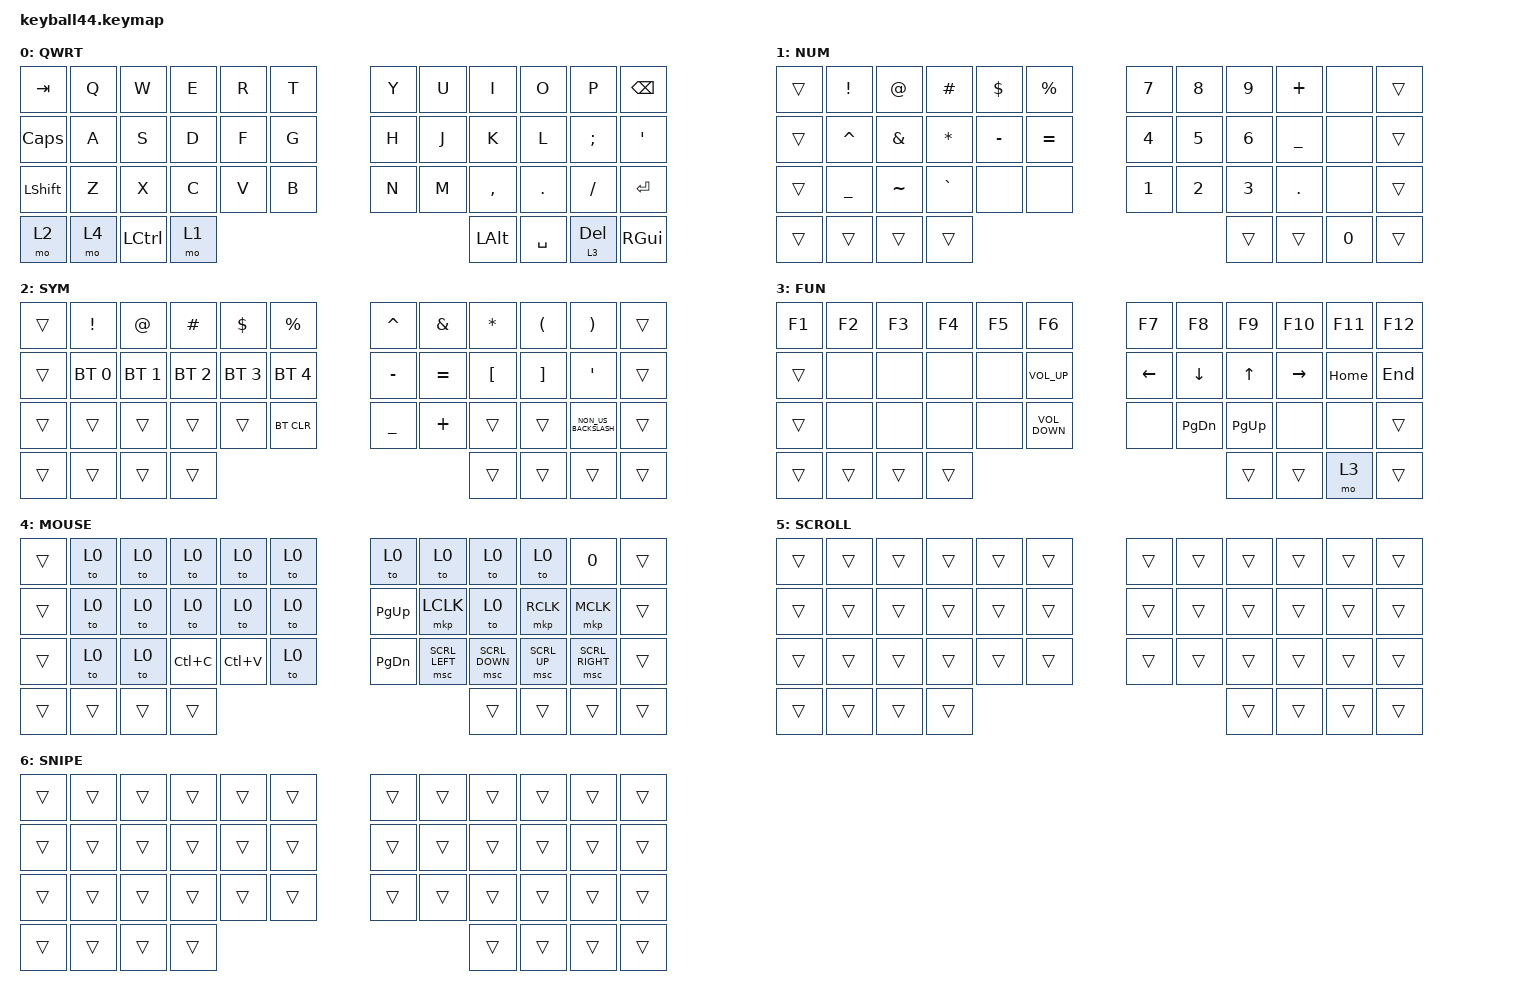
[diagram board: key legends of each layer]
#define DEFAULT 0
#define NUM     1
#define SYM     2
#define FUN     3
#define MOUSE   4
#define SCROLL  5
#define SNIPE   6

#include <behaviors/mouse_keys.dtsi>
#include <dt-bindings/zmk/mouse.h>
#include <behaviors.dtsi>
#include <dt-bindings/zmk/bt.h>
#include <dt-bindings/zmk/keys.h>
#include <dt-bindings/zmk/pointing.h>

&lt {
    tapping-term-ms = <240>;
    flavor = "balanced";
    quick-tap-ms = <150>;
};

&mt {
    tapping-term-ms = <200>;
    flavor = "tap-preferred";
    quick-tap-ms = <150>;
};

&caps_word { continue-list = <UNDERSCORE MINUS>; };

/ {
    // custom shift using mod-morph 

    behaviors {
        cmqus: comma_question {
            compatible = "zmk,behavior-mod-morph";
            label = "COMMA_QUESTION";
            #binding-cells = <0>;
            bindings = <&kp COMMA>, <&kp QUESTION>;

            mods = <(MOD_LSFT|MOD_RSFT)>;
        };

        dtsmi: dot_semi {
            compatible = "zmk,behavior-mod-morph";
            label = "DOT_SEMI";
            #binding-cells = <0>;
            bindings = <&kp DOT>, <&kp SEMI>;

            mods = <(MOD_LSFT|MOD_RSFT)>;
        };
    };

    combos {
        compatible = "zmk,combos";

        L_Bracket {
            bindings = <&kp LEFT_PARENTHESIS>;
            key-positions = <4 5>;
            layers = <0>;
        };

        R_Bracket {
            bindings = <&kp RIGHT_PARENTHESIS>;
            key-positions = <7 6>;
            layers = <0>;
        };

        LS_Bracket {
            bindings = <&kp LEFT_BRACKET>;
            key-positions = <16 17>;
            layers = <0>;
        };

        RS_Bracket {
            bindings = <&kp RIGHT_BRACKET>;
            key-positions = <19 18>;
            layers = <0>;
        };

        L_Brace {
            bindings = <&kp LEFT_BRACE>;
            key-positions = <28 29>;
            layers = <0>;
        };

        R_Brace {
            bindings = <&kp RIGHT_BRACE>;
            key-positions = <31 30>;
            layers = <0>;
        };

        Escape {
            bindings = <&kp ESC>;
            key-positions = <0 1>;
            layers = <0>;
        };

        Erase {
            bindings = <&kp LC(BACKSPACE)>;
            key-positions = <10 11>;
            layers = <0>;
        };

        Tilde {
            bindings = <&kp TILDE>;
            key-positions = <23 22>;
            layers = <0>;
        };

        Grave {
            bindings = <&kp GRAVE>;
            key-positions = <21 22>;
            layers = <0>;
        };

        Pipette {
            bindings = <&kp PIPE>;
            key-positions = <35 34>;
            layers = <0>;
        };

        Backslash {
            bindings = <&kp BACKSLASH>;
            key-positions = <34 33>;
            layers = <0>;
        };
    };

    keymap {
        compatible = "zmk,keymap";

        default_layer {
            label = "QWRT";
            bindings = <
&kp TAB         &kp Q  &kp W      &kp E  &kp R         &kp T                 &kp Y      &kp U  &kp I      &kp O    &kp P      &kp BACKSPACE
&kp CAPS        &kp A  &kp S      &kp D  &kp F         &kp G                 &kp H      &kp J  &kp K      &kp L    &kp SEMI   &kp SQT
&kp LEFT_SHIFT  &kp Z  &kp X      &kp C  &kp V         &kp B                 &kp N      &kp M  &kp COMMA  &kp DOT  &kp SLASH  &kp ENTER
&mo 2           &mo 4  &kp LCTRL  &mo 1  &kp LEFT_ALT             &kp SPACE  &lt 3 DEL                                        &kp RIGHT_GUI
            >;
        };

        number_layer {
            label = "NUM";
            bindings = <
&trans  &kp EXCLAMATION  &kp AT_SIGN    &kp POUND     &kp DOLLAR  &kp PERCENT              &kp N7        &kp N8  &kp N9  &kp PLUS        &none  &trans
&trans  &kp CARET        &kp AMPERSAND  &kp ASTERISK  &kp MINUS   &kp EQUAL                &kp NUMBER_4  &kp N5  &kp N6  &kp UNDERSCORE  &none  &trans
&trans  &kp UNDERSCORE   &kp TILDE      &kp GRAVE     &none       &none                    &kp N1        &kp N2  &kp N3  &kp PERIOD      &none  &trans
&trans  &trans           &trans         &trans        &trans                       &trans  &kp N0                                               &trans
            >;
        };

        symbol_layer {
            label = "SYM";
            bindings = <
&trans  &kp EXCLAMATION  &kp AT_SIGN   &kp HASH      &kp DOLLAR    &kp PERCENT               &kp CARET       &kp AMPERSAND  &kp ASTERISK      &kp LEFT_PARENTHESIS  &kp RIGHT_PARENTHESIS  &trans
&trans  &bt BT_SEL 0     &bt BT_SEL 1  &bt BT_SEL 2  &bt BT_SEL 3  &bt BT_SEL 4              &kp MINUS       &kp EQUAL      &kp LEFT_BRACKET  &kp RIGHT_BRACKET     &kp SQT                &trans
&trans  &trans           &trans        &trans        &trans        &bt BT_CLR                &kp UNDERSCORE  &kp PLUS       &trans            &trans                &kp NON_US_BACKSLASH   &trans
&trans  &trans           &trans        &trans        &trans                          &trans  &trans                                                                                        &trans
            >;
        };

        function_layer {
            label = "FUN";
            bindings = <
&kp F1  &kp F2  &kp F3  &kp F4  &kp F5  &kp F6                         &kp F7          &kp F8          &kp F9        &kp F10          &kp F11   &kp F12
&trans  &none   &none   &none   &none   &kp C_VOLUME_UP                &kp LEFT_ARROW  &kp DOWN_ARROW  &kp UP_ARROW  &kp RIGHT_ARROW  &kp HOME  &kp END
&trans  &none   &none   &none   &none   &kp C_VOLUME_DOWN              &none           &kp PAGE_DOWN   &kp PAGE_UP   &none            &none     &trans
&trans  &trans  &trans  &trans  &trans                         &trans  &mo 3                                                                    &trans
            >;
        };

        mouse_layer {
            label = "MOUSE";
            bindings = <
&trans  &to 0   &to 0   &to 0      &to 0      &to 0              &to 0          &to 0           &to 0           &to 0         &kp N0           &trans
&trans  &to 0   &to 0   &to 0      &to 0      &to 0              &kp PAGE_UP    &mkp LCLK       &to 0           &mkp RCLK     &mkp MCLK        &trans
&trans  &to 0   &to 0   &kp LC(C)  &kp LC(V)  &to 0              &kp PAGE_DOWN  &msc SCRL_LEFT  &msc SCRL_DOWN  &msc SCRL_UP  &msc SCRL_RIGHT  &trans
&trans  &trans  &trans  &trans     &trans                &trans  &trans                                                                        &trans
            >;
        };

        scroll_layer {
            label = "SCROLL";
            bindings = <
&trans  &trans  &trans  &trans  &trans  &trans              &trans  &trans  &trans  &trans  &trans  &trans
&trans  &trans  &trans  &trans  &trans  &trans              &trans  &trans  &trans  &trans  &trans  &trans
&trans  &trans  &trans  &trans  &trans  &trans              &trans  &trans  &trans  &trans  &trans  &trans
&trans  &trans  &trans  &trans  &trans              &trans  &trans                                  &trans
            >;
        };

        snipe_layer {
            label = "SNIPE";
            bindings = <
&trans  &trans  &trans  &trans  &trans  &trans              &trans  &trans  &trans  &trans  &trans  &trans
&trans  &trans  &trans  &trans  &trans  &trans              &trans  &trans  &trans  &trans  &trans  &trans
&trans  &trans  &trans  &trans  &trans  &trans              &trans  &trans  &trans  &trans  &trans  &trans
&trans  &trans  &trans  &trans  &trans              &trans  &trans                                  &trans
            >;
        };
    };
};
